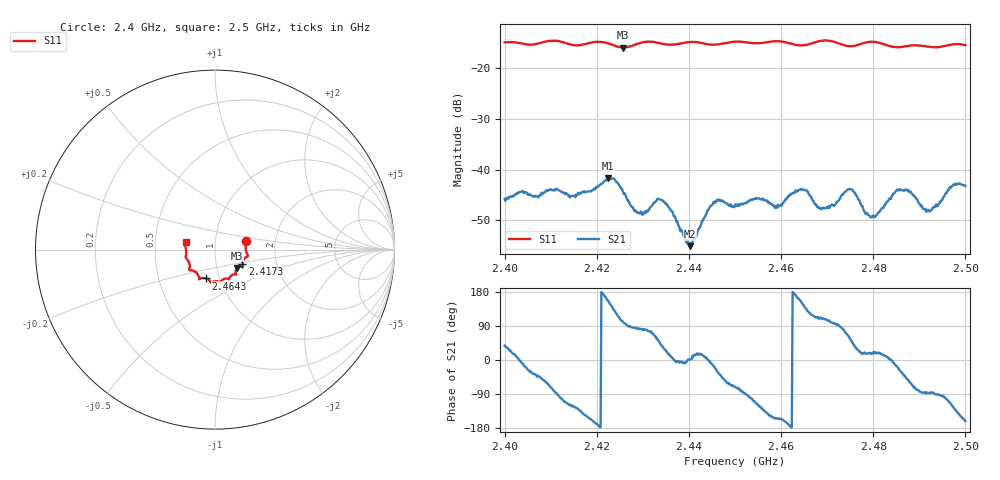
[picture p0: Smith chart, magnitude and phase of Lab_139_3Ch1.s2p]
# Hz S RI R 50
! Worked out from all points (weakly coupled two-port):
!   601 points, 2.4 GHz to 2.5 GHz, reference 50 ohm
!   highest |S21| = -41.65 dB at 2.4225 GHz (marker M1); lowest = -55.1 dB at 2.4402 GHz (marker M2)
!   lowest |S11| = -15.9 dB at 2.4257 GHz (marker M3), VSWR 1.38, Z = 62.5 - j13.1 ohm
!   |S11| at or under -10 dB: start of sweep to end of sweep
!   S12 and S22 are empty: the file has one direction only
!   S11 on the Smith chart (normalised r, x): 2.4 GHz: 1.41, +0.14; 2.4173 GHz: 1.34, -0.23; 2.4643 GHz: 0.86, -0.28; 2.5 GHz: 0.72, +0.06
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2.4e9  0.1732 0.0488  0.00404 0.00315  0 0  0 0
2.416667e9  0.1527 -0.0745  -0.00427 -0.00408  0 0  0 0
2.417333e9  0.1519 -0.0819  -0.00494 -0.00351  0 0  0 0
2.4225e9  0.1487 -0.0942  -0.00754 0.0034  0 0  0 0
2.425667e9  0.1232 -0.1022  -0.00116 0.0059  0 0  0 0
2.4295e9  0.1166 -0.1347  0.000536 0.00368  0 0  0 0
2.433333e9  0.1126 -0.1376  0.00323 0.00398  0 0  0 0
2.440167e9  0.0788 -0.1638  0.00175 2.96e-05  0 0  0 0
2.445667e9  0.0505 -0.1635  0.0045 -0.00175  0 0  0 0
2.45e9  0.0287 -0.181  0.00144 -0.00416  0 0  0 0
2.454833e9  0.00323 -0.1762  -0.00232 -0.00464  0 0  0 0
2.459167e9  -0.0228 -0.1838  -0.00376 -0.0018  0 0  0 0
2.464333e9  -0.0501 -0.1605  -0.00583 0.00272  0 0  0 0
2.466667e9  -0.0759 -0.1592  -0.00244 0.00452  0 0  0 0
2.47e9  -0.0882 -0.1658  -0.00105 0.00415  0 0  0 0
2.475e9  -0.1062 -0.1265  0.00369 0.00525  0 0  0 0
2.479833e9  -0.1434 -0.1134  0.00332 0.00108  0 0  0 0
2.483333e9  -0.1407 -0.0896  0.00498 0.000325  0 0  0 0
2.4875e9  -0.1576 -0.0527  0.0038 -0.0048  0 0  0 0
2.492e9  -0.161 -0.0255  0.000217 -0.00399  0 0  0 0
2.497e9  -0.1694 0.027  -0.00325 -0.00601  0 0  0 0
2.5e9  -0.1637 0.0427  -0.0065 -0.00222  0 0  0 0
